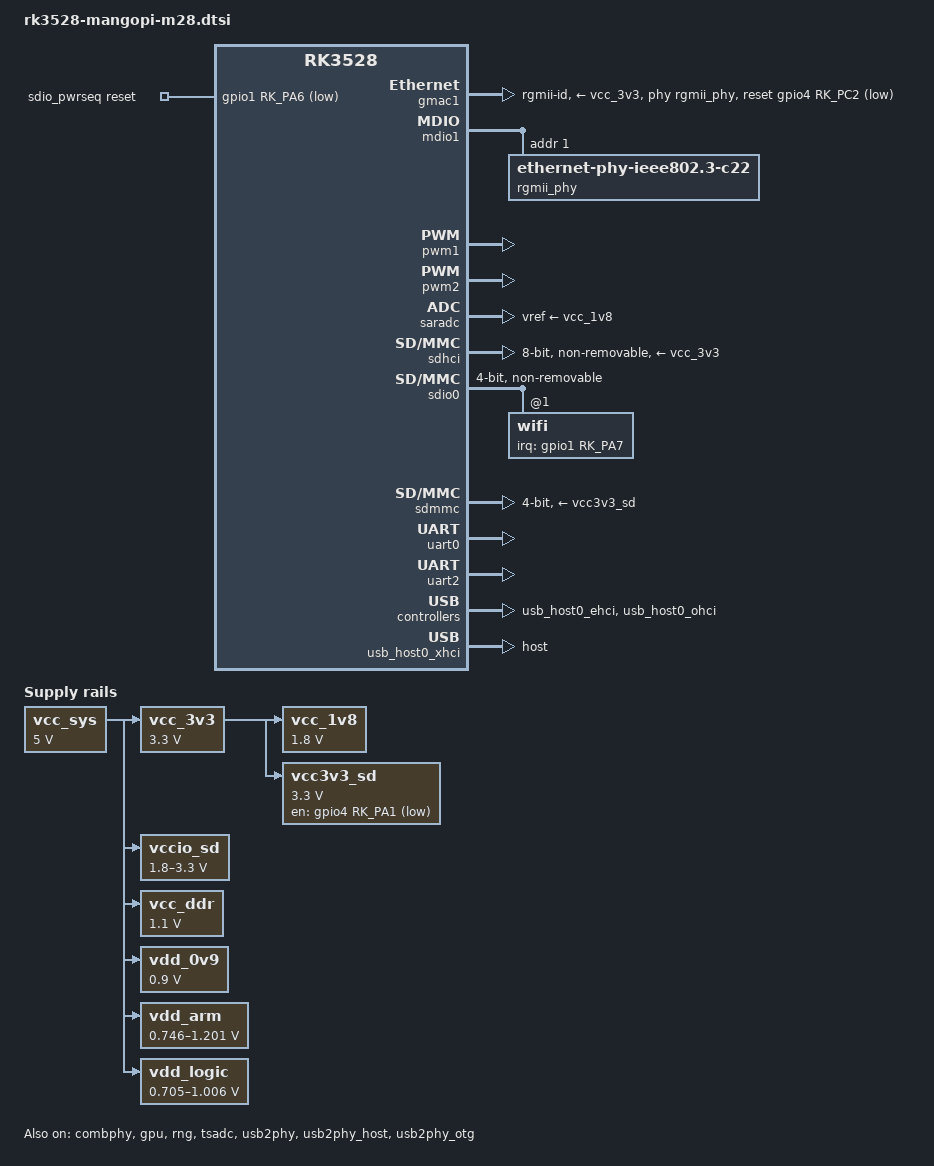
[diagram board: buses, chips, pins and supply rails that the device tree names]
// SPDX-License-Identifier: (GPL-2.0+ OR MIT)
// Copyright (c) 2024 AY <amadeus@jmu.edu.cn>

#include <dt-bindings/gpio/gpio.h>
#include <dt-bindings/input/input.h>
#include <dt-bindings/pinctrl/rockchip.h>

#include "rk3528.dtsi"

/ {
	aliases {
		mmc0 = &sdhci;
		mmc1 = &sdmmc;
		mmc2 = &sdio0;
		serial0 = &uart0;
		serial2 = &uart2;
		ethernet0 = &gmac1;
	};

	chosen {
		stdout-path = "serial0:1500000n8";
	};

	sdio_pwrseq: sdio-pwrseq {
		compatible = "mmc-pwrseq-simple";
		pinctrl-names = "default";
		pinctrl-0 = <&wifi_reg_on_h>;
		post-power-on-delay-ms = <100>;
		power-off-delay-us = <5000000>;
		reset-gpios = <&gpio1 RK_PA6 GPIO_ACTIVE_LOW>;
	};

	vcc_1v8: vcc-1v8 {
		compatible = "regulator-fixed";
		regulator-name = "vcc_1v8";
		regulator-always-on;
		regulator-boot-on;
		regulator-min-microvolt = <1800000>;
		regulator-max-microvolt = <1800000>;
		vin-supply = <&vcc_3v3>;
	};

	vcc_3v3: vcc-3v3 {
		compatible = "regulator-fixed";
		regulator-name = "vcc_3v3";
		regulator-always-on;
		regulator-boot-on;
		regulator-min-microvolt = <3300000>;
		regulator-max-microvolt = <3300000>;
		vin-supply = <&vcc_sys>;
	};

	vcc3v3_sd: vcc3v3-sd {
		compatible = "regulator-fixed";
		gpios = <&gpio4 RK_PA1 GPIO_ACTIVE_LOW>;
		pinctrl-names = "default";
		pinctrl-0 = <&sdmmc_pwren_l>;
		regulator-name = "vcc3v3_sd";
		regulator-min-microvolt = <3300000>;
		regulator-max-microvolt = <3300000>;
		vin-supply = <&vcc_3v3>;
	};

	vccio_sd: vccio-sd {
		compatible = "regulator-gpio";
		gpios = <&gpio4 RK_PB6 GPIO_ACTIVE_HIGH>;
		pinctrl-names = "default";
		pinctrl-0 = <&sdmmc_vol_ctrl_h>;
		regulator-name = "vccio_sd";
		regulator-min-microvolt = <1800000>;
		regulator-max-microvolt = <3300000>;
		states = <1800000 0x0>, <3300000 0x1>;
		vin-supply = <&vcc_sys>;
	};

	vcc_ddr: vcc-ddr {
		compatible = "regulator-fixed";
		regulator-name = "vcc_ddr";
		regulator-always-on;
		regulator-boot-on;
		regulator-min-microvolt = <1100000>;
		regulator-max-microvolt = <1100000>;
		vin-supply = <&vcc_sys>;
	};

	vcc_sys: vcc5v0-sys {
		compatible = "regulator-fixed";
		regulator-name = "vcc_sys";
		regulator-always-on;
		regulator-boot-on;
		regulator-min-microvolt = <5000000>;
		regulator-max-microvolt = <5000000>;
	};

	vdd_0v9: vdd-0v9 {
		compatible = "regulator-fixed";
		regulator-name = "vdd_0v9";
		regulator-always-on;
		regulator-boot-on;
		regulator-min-microvolt = <900000>;
		regulator-max-microvolt = <900000>;
		vin-supply = <&vcc_sys>;
	};

	vdd_arm: vdd-arm {
		compatible = "pwm-regulator";
		pwms = <&pwm1 0 5000 1>;
		pwm-supply = <&vcc_sys>;
		regulator-name = "vdd_arm";
		regulator-always-on;
		regulator-boot-on;
		regulator-min-microvolt = <746000>;
		regulator-max-microvolt = <1201000>;
		regulator-settling-time-up-us = <250>;
	};

	vdd_logic: vdd-logic {
		compatible = "pwm-regulator";
		pwms = <&pwm2 0 5000 1>;
		pwm-supply = <&vcc_sys>;
		regulator-name = "vdd_logic";
		regulator-always-on;
		regulator-boot-on;
		regulator-min-microvolt = <705000>;
		regulator-max-microvolt = <1006000>;
		regulator-settling-time-up-us = <250>;
	};
};

&combphy {
	status = "okay";
};

&cpu0 {
	cpu-supply = <&vdd_arm>;
};

&cpu1 {
	cpu-supply = <&vdd_arm>;
};

&cpu2 {
	cpu-supply = <&vdd_arm>;
};

&cpu3 {
	cpu-supply = <&vdd_arm>;
};

&gmac1 {
	clock_in_out = "output";
	phy-handle = <&rgmii_phy>;
	phy-mode = "rgmii-id";
	phy-supply = <&vcc_3v3>;
	pinctrl-names = "default";
	pinctrl-0 = <&rgmii_miim>,
		    <&rgmii_tx_bus2>,
		    <&rgmii_rx_bus2>,
		    <&rgmii_rgmii_clk>,
		    <&rgmii_rgmii_bus>;
	snps,reset-active-low;
	snps,reset-delays-us = <0 20000 100000>;
	snps,reset-gpio = <&gpio4 RK_PC2 GPIO_ACTIVE_LOW>;
	status = "okay";
};

&gpu {
	mali-supply = <&vdd_logic>;
	status = "okay";
};

&mdio1 {
	rgmii_phy: phy@1 {
		compatible = "ethernet-phy-ieee802.3-c22";
		reg = <0x1>;
		realtek,led-data = <0x6d60>;
	};
};

&pinctrl {
	leds {
		lan_led_en: lan-led-en {
			rockchip,pins = <4 RK_PB5 RK_FUNC_GPIO &pcfg_pull_none>;
		};

		wan_led_en: wan-led-en {
			rockchip,pins = <4 RK_PC0 RK_FUNC_GPIO &pcfg_pull_none>;
		};

		work_led_en: work-led-en {
			rockchip,pins = <4 RK_PB7 RK_FUNC_GPIO &pcfg_pull_none>;
		};
	};

	wifi {
		wifi_reg_on_h: wifi-reg-on-h {
			rockchip,pins = <1 RK_PA6 RK_FUNC_GPIO &pcfg_pull_none>;
		};

		wifi_wake_host_h: wifi-wake-host-h {
			rockchip,pins = <1 RK_PA7 RK_FUNC_GPIO &pcfg_pull_down>;
		};
	};

	sdmmc {
		sdmmc_pwren_l: sdmmc-pwren-l {
			rockchip,pins = <4 RK_PA1 RK_FUNC_GPIO &pcfg_pull_none>;
		};

		sdmmc_vol_ctrl_h: sdmmc-vol-ctrl-h {
			rockchip,pins = <4 RK_PB6 RK_FUNC_GPIO &pcfg_pull_none>;
		};
	};

	bluetooth {
		bt_reg_on_h: bt-reg-on-h {
			rockchip,pins = <1 RK_PC1 RK_FUNC_GPIO &pcfg_pull_down>;
		};
	};
};

&pwm1 {
	pinctrl-names = "default";
	pinctrl-0 = <&pwm1m0_pins>;
	status = "okay";
};

&pwm2 {
	pinctrl-names = "default";
	pinctrl-0 = <&pwm2m0_pins>;
	status = "okay";
};

&rng {
	status = "okay";
};

&saradc {
	vref-supply = <&vcc_1v8>;
	status = "okay";
};

&sdhci {
	bus-width = <8>;
	cap-mmc-highspeed;
	mmc-hs200-1_8v;
	non-removable;
	vmmc-supply = <&vcc_3v3>;
	vqmmc-supply = <&vcc_1v8>;
	status = "okay";
};

&sdio0 {
	#address-cells = <1>;
	#size-cells = <0>;
	bus-width = <4>;
	cap-sd-highspeed;
	cap-sdio-irq;
	keep-power-in-suspend;
	mmc-pwrseq = <&sdio_pwrseq>;
	non-removable;
	sd-uhs-sdr104;
	status = "okay";

	wifi@1 {
		reg = <1>;
		interrupt-parent = <&gpio1>;
		interrupts = <RK_PA7 IRQ_TYPE_LEVEL_HIGH>;
		interrupt-names = "host-wake";
		pinctrl-names = "default";
		pinctrl-0 = <&wifi_wake_host_h>;
	};
};

&sdmmc {
	bus-width = <4>;
	cap-sd-highspeed;
	disable-wp;
	sd-uhs-sdr104;
	vmmc-supply = <&vcc3v3_sd>;
	vqmmc-supply = <&vccio_sd>;
	status = "okay";
};

&tsadc {
	status = "okay";
};

&uart0 {
	pinctrl-names = "default";
	pinctrl-0 = <&uart0m0_xfer>;
	status = "okay";
};

&uart2 {
	pinctrl-names = "default";
	pinctrl-0 = <&uart2m1_xfer &uart2m1_ctsn>;
	status = "okay";
};

&usb2phy {
	status = "okay";
};

&usb2phy_host {
	phy-supply = <&vcc_sys>;
	status = "okay";
};

&usb2phy_otg {
	phy-supply = <&vcc_sys>;
	status = "okay";
};

&usb_host0_ehci {
	status = "okay";
};

&usb_host0_ohci {
	status = "okay";
};

&usb_host0_xhci {
	dr_mode = "host";
	status = "okay";
};
